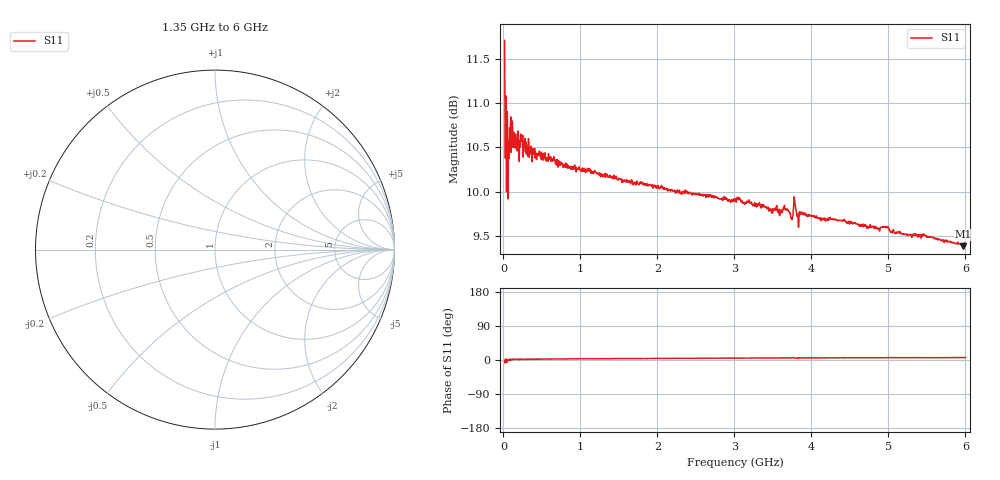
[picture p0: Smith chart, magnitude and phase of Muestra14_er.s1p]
! NanoVNA-UTN-Toolkit permittivity export -- NOT S-parameters
! ES: Permitividad relativa compleja de la muestra. NO es S11: se guarda en
! ES: formato Touchstone solo para poder graficarla con visores de .s1p.
! EN: Complex relative permittivity of the sample. NOT S11: the Touchstone
! EN: format is used only so that .s1p viewers can plot it.
! Columns / Columnas: f (Hz) | eps' | eps'' (loss >= 0); eps_r = eps' - j*eps''
! Sample / Muestra: Muestra14
! Technique / Tecnica: Open-ended coaxial probe (liquids)
! References / Referencias: water + ipa
! Probe / Sonda: 3 mm probe (C0 0.019 pF)
! Temperature / Temperatura: 23.0 °C
! 8 non-physical point(s) (eps'' < 0 or eps' < 1) kept and flagged / 8 punto(s) no fisico(s) (eps'' < 0 o eps' < 1) conservados y marcados
! Reliable from 45 MHz: points below are not reliable / Confiable desde 45 MHz: los puntos inferiores no son confiables
! Spike removal replaced 1 isolated S11 point(s) before solving / La remocion de picos reemplazo 1 punto(s) aislado(s) de S11
! 2 point(s) without a solution omitted / 2 punto(s) sin solucion omitidos
! Exported / Exportado: 2026-10-23T19:07:43
# Hz S RI R 50
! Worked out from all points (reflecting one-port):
!   1198 points, 15 MHz to 6 GHz, reference 50 ohm
!   lowest |S11| = 9.4 dB at 5.975 GHz (marker M1)
!   phase of S11 starts at -4 deg and turns +10 deg over the sweep
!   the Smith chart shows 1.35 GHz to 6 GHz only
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1.5e7  3.841 -0.2437
2e7  3.469 -0.4854
2.5e7  3.299 0.1458
4.5e7  3.426 -0.3851
5e7  3.508 -0.0576
6e7  3.133 0.00755
6.5e7  3.377 -0.0227
7e7  3.301 0.0457
7.5e7  3.311 -0.0716
1.05e8  3.457 0.0512
1.35e8  3.413 0.1147
1.55e8  3.404 0.0884
2.5e8  3.4 0.1254
4.35e8  3.319 0.1592
7.65e8  3.275 0.1667
1.515e9  3.208 0.2005
2.26e9  3.16 0.2458
3.01e9  3.11 0.2825
3.625e9  3.067 0.3059
3.715e9  3.066 0.2776
3.76e9  3.05 0.3295
3.79e9  3.097 0.2566
3.81e9  3.064 0.2762
3.865e9  3.066 0.2929
4.505e9  3.027 0.3118
5.255e9  2.971 0.3242
5.975e9  2.929 0.3178
6e9  2.928 0.3296
